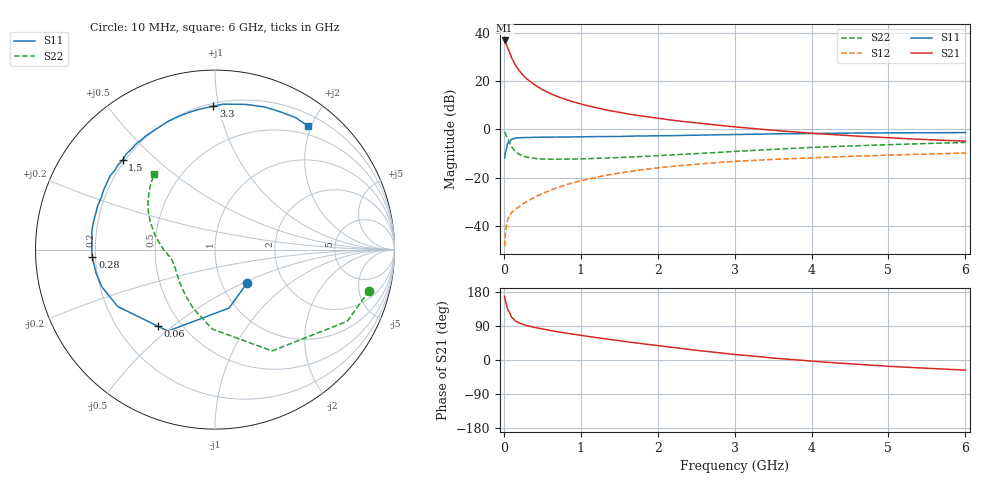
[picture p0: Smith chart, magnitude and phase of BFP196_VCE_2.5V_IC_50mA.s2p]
! Infineon Technologies  Discrete & RF Semiconductors
! BFP196
! VCE = 2.5 V,  IC =  50mA
! Common Emitter S-Parameters:  Jan 2016
# GHz  S  MA  R  50
!  f  S11  S21  S12  S22
! GHz  MAG  ANG  MAG  ANG  MAG  ANG  MAG  ANG
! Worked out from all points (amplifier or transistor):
!   210 points, 10 MHz to 6 GHz, reference 50 ohm
!   highest |S21| = 36.7 dB at 10 MHz (marker M1)
!   |S21| within 3 dB of that: start of sweep to 49.46 MHz
!   unconditionally stable (mu >= 1): 439.8 MHz to 4.369 GHz
!   at 185 MHz: K = 0.73, MSG = 28.6 dB, |S12| = -32.2 dB
!   at 1.52 GHz: K = 1.09, MAG = 10.6 dB, |S12| = -17.9 dB
!   at 6 GHz: K = 0.98, MSG = 2.5 dB, |S12| = -9.7 dB
!   S11 on the Smith chart (normalised r, x): 10 MHz: 1.32, -0.52; 60 MHz: 0.37, -0.44; 280 MHz: 0.19, -0.03; 1.5 GHz: 0.19, +0.39; 3.3 GHz: 0.22, +0.97; 6 GHz: 0.37, +1.96
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0.01  0.2578 -45.9  68.74 168.2  0.0039 80.3  0.8888 -14.9
0.02  0.3347 -76.4  64.26 156.3  0.0072 72.3  0.8383 -28.4
0.05  0.5243 -120.0  48.46 132.4  0.014 55.1  0.6481 -60.6
0.06  0.5322 -126.7  44.5 129.8  0.0151 53.4  0.5958 -65.0
0.1  0.6276 -149.6  30.2 112.7  0.0194 48.6  0.4426 -92.0
0.15  0.664 -161.8  21.23 103.3  0.0225 49.2  0.3501 -110.0
0.2  0.6757 -168.9  16.31 97.5  0.0254 52.5  0.3059 -122.1
0.24  0.6797 -173.2  13.7 94.5  0.0284 54.1  0.2849 -129.4
0.28  0.6838 -176.6  11.8 91.8  0.0311 56.1  0.2726 -135.1
0.3  0.686 -178.1  10.98 90.5  0.0324 57.0  0.2679 -137.6
0.4  0.6894 175.6  8.306 85.9  0.04 59.8  0.2523 -147.0
0.5  0.6938 171.4  6.647 81.9  0.0473 61.8  0.2456 -153.1
0.6  0.6943 166.9  5.549 78.0  0.0554 62.6  0.2435 -157.2
0.7  0.6943 162.7  4.772 74.3  0.0632 63.0  0.2434 -160.4
1.02  0.7043 151.0  3.295 64.5  0.0887 61.0  0.2476 -167.1
1.5  0.7158 136.0  2.268 51.0  0.1257 55.4  0.2636 -173.7
2.02  0.7419 120.9  1.681 37.4  0.1624 47.9  0.2886 179.1
3.1  0.7896 94.6  1.095 12.9  0.2238 32.0  0.3584 163.1
3.3  0.7988 90.6  1.026 9.2  0.2324 29.2  0.3732 160.1
4.1  0.829 76.4  0.815 -4.5  0.2636 19.3  0.4326 149.3
5.1  0.8518 63.0  0.663 -17.6  0.2975 8.1  0.4907 138.3
6  0.8617 52.9  0.575 -26.8  0.326 -1.9  0.5399 128.8
